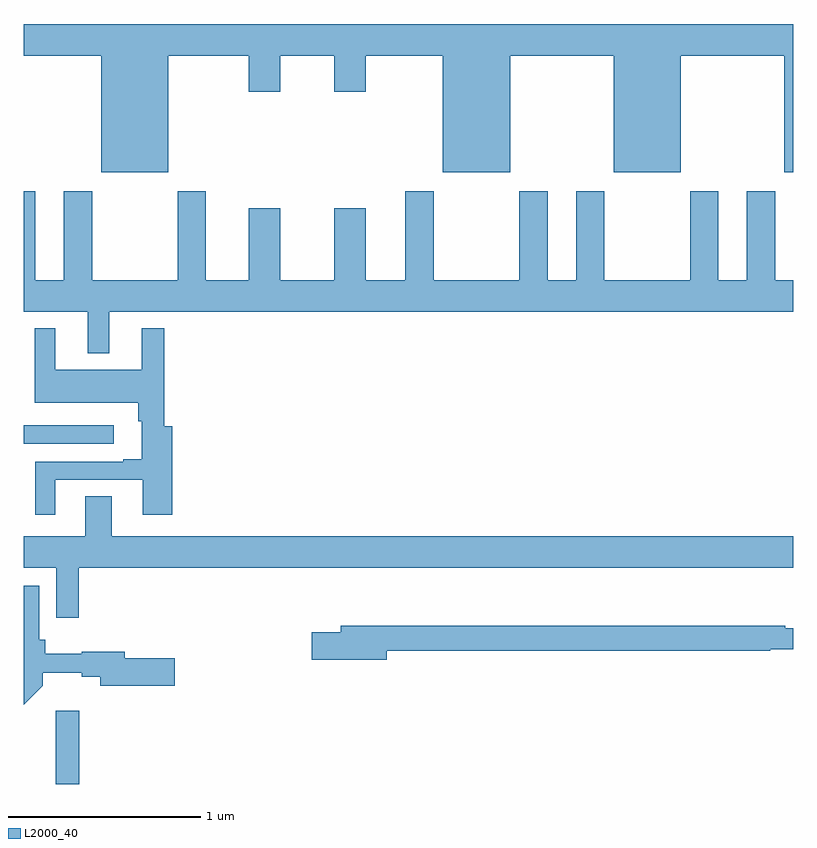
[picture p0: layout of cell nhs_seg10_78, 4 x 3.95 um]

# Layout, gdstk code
import gdstk
lib = gdstk.Library(unit=1e-6, precision=1e-09)
def R(c, l, rs):  # rectangles x0, y0, x1, y1
    for r in rs: c.add(gdstk.rectangle(r[:2], r[2:], *l))
def P(c, l, *ps):  # polygons
    for p in ps: c.add(gdstk.Polygon(p, *l))
L2000_40 = (2000, 40)

nhs_seg10_78 = lib.new_cell('nhs_seg10_78')
R(nhs_seg10_78, L2000_40, [(113.165,1324.5,113.288,1324.882), (113,1326.27,113.467,1326.366)])
P(nhs_seg10_78, L2000_40, [(113.752,1328.288),(114.17,1328.288),(114.17,1328.1),(114.334,1328.1),(114.334,1328.288),(114.614,1328.288),(114.614,1328.1),(114.778,1328.1),(114.778,1328.288),(115.178,1328.288),(115.178,1327.682),(115.528,1327.682),(115.528,1328.288),(116.066,1328.288),(116.066,1327.682),(116.416,1327.682),(116.416,1328.288),(116.954,1328.288),(116.954,1327.682),(117,1327.682),(117,1328.452),(113,1328.452),(113,1328.288),(113.402,1328.288),(113.402,1327.682),(113.752,1327.682)],
  [(113.443,1326.956),(117,1326.956),(117,1327.12),(116.907,1327.12),(116.907,1327.582),(116.759,1327.582),(116.759,1327.12),(116.611,1327.12),(116.611,1327.582),(116.464,1327.582),(116.464,1327.12),(116.019,1327.12),(116.019,1327.582),(115.871,1327.582),(115.871,1327.12),(115.723,1327.12),(115.723,1327.582),(115.576,1327.582),(115.576,1327.12),(115.131,1327.12),(115.131,1327.582),(114.983,1327.582),(114.983,1327.12),(114.778,1327.12),(114.778,1327.495),(114.614,1327.495),(114.614,1327.12),(114.334,1327.12),(114.334,1327.495),(114.17,1327.495),(114.17,1327.12),(113.947,1327.12),(113.947,1327.582),(113.8,1327.582),(113.8,1327.12),(113.355,1327.12),(113.355,1327.582),(113.207,1327.582),(113.207,1327.12),(113.059,1327.12),(113.059,1327.582),(113,1327.582),(113,1326.956),(113.333,1326.956),(113.333,1326.74),(113.443,1326.74)],
  [(113.164,1326.081),(113.618,1326.081),(113.618,1325.901),(113.771,1325.901),(113.771,1326.361),(113.731,1326.361),(113.731,1326.871),(113.612,1326.871),(113.612,1326.655),(113.164,1326.655),(113.164,1326.871),(113.057,1326.871),(113.057,1326.482),(113.595,1326.482),(113.595,1326.386),(113.612,1326.386),(113.612,1326.19),(113.516,1326.19),(113.516,1326.177),(113.06,1326.177),(113.06,1325.901),(113.164,1325.901)],
  [(113.285,1325.624),(117,1325.624),(117,1325.788),(113.458,1325.788),(113.458,1325.996),(113.318,1325.996),(113.318,1325.788),(113,1325.788),(113,1325.624),(113.169,1325.624),(113.169,1325.364),(113.285,1325.364)],
  [(113.098,1325.01),(113.098,1325.078),(113.3,1325.078),(113.3,1325.059),(113.396,1325.059),(113.396,1325.012),(113.785,1325.012),(113.785,1325.154),(113.524,1325.154),(113.524,1325.188),(113.3,1325.188),(113.3,1325.177),(113.111,1325.177),(113.111,1325.25),(113.08,1325.25),(113.08,1325.53),(113,1325.53),(113,1324.911)],
  [(114.886,1325.194),(116.882,1325.194),(116.882,1325.202),(117,1325.202),(117,1325.31),(116.96,1325.31),(116.96,1325.323),(114.647,1325.323),(114.647,1325.289),(114.498,1325.289),(114.498,1325.147),(114.886,1325.147)])

lib.write_gds('nhs_seg10_78.gds')
